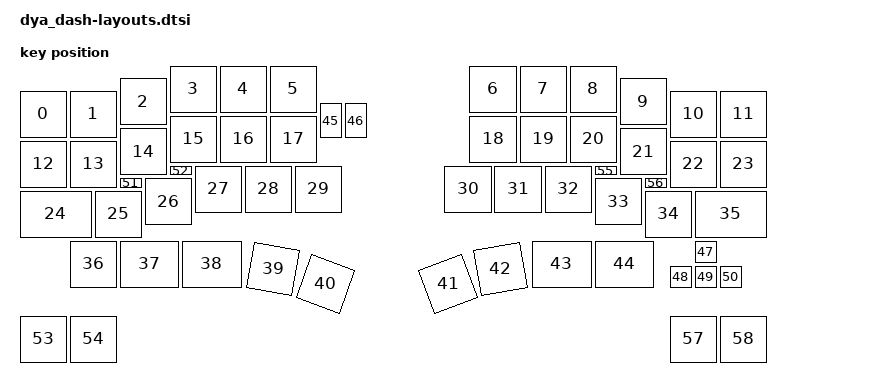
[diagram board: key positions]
#include <physical_layouts.dtsi>

/ {
    default_layout: default_layout {
        compatible = "zmk,physical-layout";
        display-name = "DYA Dash Layout";
        kscan = <&kscan0>;
        transform = <&default_transform>;

        keys  //                     w   h    x    y     rot    rx    ry
        = <&key_physical_attrs 100 100    0   50       0     0     0>
        , <&key_physical_attrs 100 100  100   50       0     0     0>
        , <&key_physical_attrs 100 100  200   25       0     0     0>
        , <&key_physical_attrs 100 100  300    0       0     0     0>
        , <&key_physical_attrs 100 100  400    0       0     0     0>
        , <&key_physical_attrs 100 100  500    0       0     0     0>
        , <&key_physical_attrs 100 100  900    0       0     0     0>
        , <&key_physical_attrs 100 100 1000    0       0     0     0>
        , <&key_physical_attrs 100 100 1100    0       0     0     0>
        , <&key_physical_attrs 100 100 1200   25       0     0     0>
        , <&key_physical_attrs 100 100 1300   50       0     0     0>
        , <&key_physical_attrs 100 100 1400   50       0     0     0>
        , <&key_physical_attrs 100 100    0  150       0     0     0>
        , <&key_physical_attrs 100 100  100  150       0     0     0>
        , <&key_physical_attrs 100 100  200  125       0     0     0>
        , <&key_physical_attrs 100 100  300  100       0     0     0>
        , <&key_physical_attrs 100 100  400  100       0     0     0>
        , <&key_physical_attrs 100 100  500  100       0     0     0>
        , <&key_physical_attrs 100 100  900  100       0     0     0>
        , <&key_physical_attrs 100 100 1000  100       0     0     0>
        , <&key_physical_attrs 100 100 1100  100       0     0     0>
        , <&key_physical_attrs 100 100 1200  125       0     0     0>
        , <&key_physical_attrs 100 100 1300  150       0     0     0>
        , <&key_physical_attrs 100 100 1400  150       0     0     0>
        , <&key_physical_attrs 150 100    0  250       0     0     0>
        , <&key_physical_attrs 100 100  150  250       0     0     0>
        , <&key_physical_attrs 100 100  250  225       0     0     0>
        , <&key_physical_attrs 100 100  350  200       0     0     0>
        , <&key_physical_attrs 100 100  450  200       0     0     0>
        , <&key_physical_attrs 100 100  550  200       0     0     0>
        , <&key_physical_attrs 100 100  850  200       0     0     0>
        , <&key_physical_attrs 100 100  950  200       0     0     0>
        , <&key_physical_attrs 100 100 1050  200       0     0     0>
        , <&key_physical_attrs 100 100 1150  225       0     0     0>
        , <&key_physical_attrs 100 100 1250  250       0     0     0>
        , <&key_physical_attrs 150 100 1350  250       0     0     0>
        , <&key_physical_attrs 100 100  100  350       0     0     0>
        , <&key_physical_attrs 125 100  200  350       0     0     0>
        , <&key_physical_attrs 125 100  325  350       0     0     0>
        , <&key_physical_attrs 100 100  460  360    1000   510   410>
        , <&key_physical_attrs 100 100  565  390    2000   615   440>
        , <&key_physical_attrs 100 100  810  390 (-2000)   860   440>
        , <&key_physical_attrs 100 100  915  360 (-1000)   965   410>
        , <&key_physical_attrs 125 100 1025  350       0     0     0>
        , <&key_physical_attrs 125 100 1150  350       0     0     0>
        , <&key_physical_attrs  50  75  600   75       0     0     0>
        , <&key_physical_attrs  50  75  650   75       0     0     0>
        , <&key_physical_attrs  50  50 1350  350       0     0     0>
        , <&key_physical_attrs  50  50 1300  400       0     0     0>
        , <&key_physical_attrs  50  50 1350  400       0     0     0>
        , <&key_physical_attrs  50  50 1400  400       0     0     0>
        , <&key_physical_attrs  50  25  200  225       0     0     0>
        , <&key_physical_attrs  50  25  300  200       0     0     0>
        , <&key_physical_attrs 100 100    0  500       0     0     0>
        , <&key_physical_attrs 100 100  100  500       0     0     0>
        , <&key_physical_attrs  50  25 1150  200       0     0     0>
        , <&key_physical_attrs  50  25 1250  225       0     0     0>
        , <&key_physical_attrs 100 100 1300  500       0     0     0>
        , <&key_physical_attrs 100 100 1400  500       0     0     0>
        ;
    };
};
